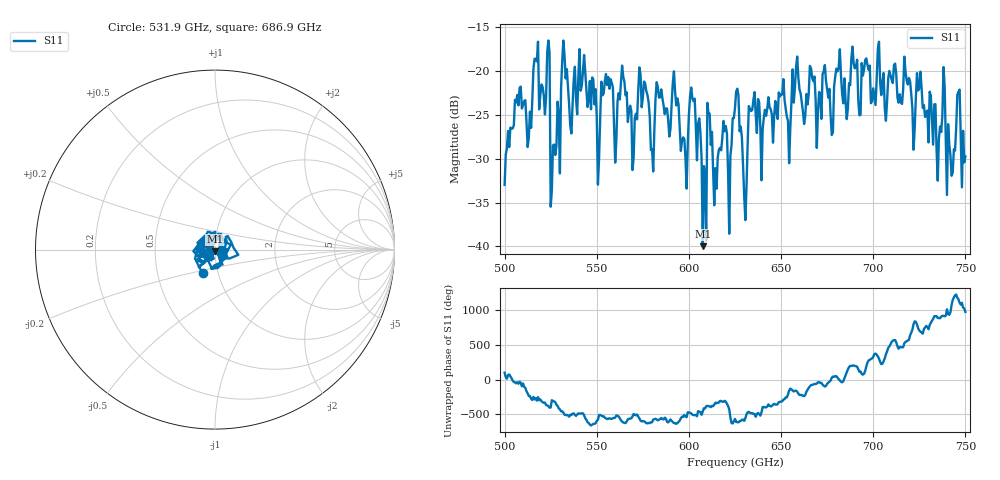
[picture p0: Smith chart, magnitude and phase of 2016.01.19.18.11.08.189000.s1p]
!Created with skrf (http://scikit-rf.org).
# GHz S RI R 50.0
!freq ReS11 ImS11
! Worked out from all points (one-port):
!   401 points, 500 GHz to 750 GHz, reference 50 ohm
!   lowest |S11| = -40.0 dB at 607.5 GHz (marker M1), VSWR 1.02, Z = 49.8 - j0.979 ohm
!   |S11| at or under -10 dB: start of sweep to end of sweep
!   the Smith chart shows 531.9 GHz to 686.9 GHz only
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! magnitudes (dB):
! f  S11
! 500 GHz  -33.0
! 507.5 GHz  -23.9
! 513.8 GHz  -24.6
! 516.9 GHz  -18.6
! 523.1 GHz  -17.8
! 526.2 GHz  -28.5
! 531.2 GHz  -18.9
! 550.6 GHz  -33.0
! 562.5 GHz  -23.2
! 570.6 GHz  -25.3
! 576.9 GHz  -22.3
! 580 GHz  -28.9
! 583.8 GHz  -23.0
! 593.8 GHz  -23.1
! 598.1 GHz  -29.9
! 601.9 GHz  -23.1
! 607.5 GHz  -40.0
! 611.2 GHz  -24.9
! 614.4 GHz  -31.1
! 619.4 GHz  -26.9
! 621.9 GHz  -38.6
! 625 GHz  -24.2
! 630.6 GHz  -37.0
! 634.4 GHz  -24.4
! 656.2 GHz  -19.8
! 687.5 GHz  -21.6
! 718.8 GHz  -21.5
! 750 GHz  -29.7
